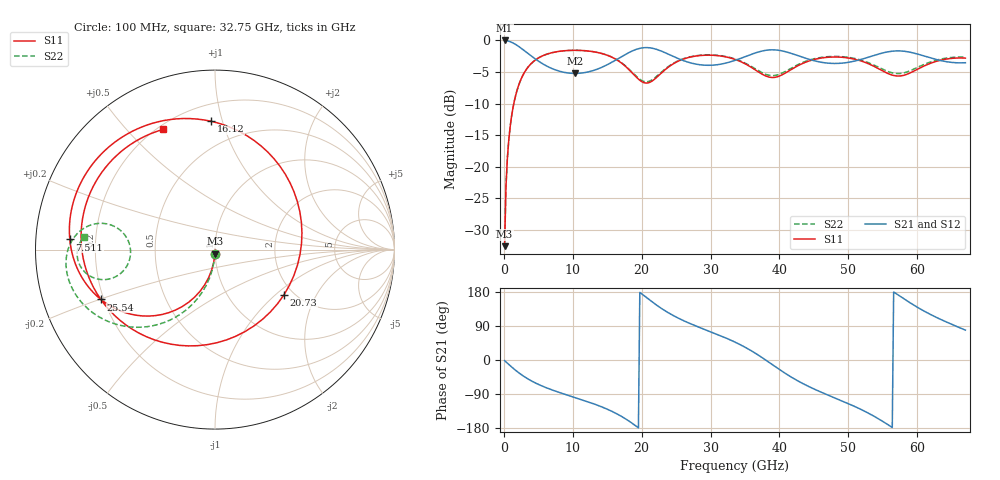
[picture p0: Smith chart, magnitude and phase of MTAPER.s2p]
! Created with skrf (http://scikit-rf.org).
# Hz S RI R 50.0
!freq ReS11 ImS11 ReS21 ImS21 ReS12 ImS12 ReS22 ImS22
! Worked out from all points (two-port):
!   335 points, 100 MHz to 67 GHz, reference 50 ohm
!   highest |S21| = 0.00 dB at 100 MHz (marker M1); lowest = -5.2 dB at 10.32 GHz (marker M2)
!   |S21| within 3 dB of the highest: 33.96 GHz to 44.33 GHz (10.37 GHz wide, 26.5 % of centre); 51.87 GHz to 62.7 GHz (10.82 GHz wide, 18.9 % of centre)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
!   lowest |S11| = -32.6 dB at 100 MHz (marker M3), VSWR 1.05, Z = 49.9 - j2.33 ohm
!   |S11| at or under -10 dB: start of sweep to 1.44 GHz
!   |S22| runs from -32.6 to -1.6 dB; largest |S21 - S12| = 4.5e-12
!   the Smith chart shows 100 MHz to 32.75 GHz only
!   S11 on the Smith chart (normalised r, x): 100 MHz: 1.00, -0.05; 7.511 GHz: 0.10, +0.03; 16.12 GHz: 0.31, +0.92; 20.73 GHz: 1.78, -1.14; 25.54 GHz: 0.19, -0.20; 32.75 GHz: 0.22, +0.64
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1e8  -0.000815 -0.0234  0.9992 -0.0294  0.9992 -0.0294  -0.000699 -0.0234
5.005988e8  -0.0187 -0.1148  0.9823 -0.1448  0.9823 -0.1448  -0.0159 -0.1152
1.702395e9  -0.1827 -0.3174  0.8257 -0.4267  0.8257 -0.4267  -0.1552 -0.3318
7.511078e9  -0.809 0.0565  0.0777 -0.5778  0.0777 -0.5778  -0.7665 -0.2647
1.031527e10  -0.7489 0.3697  -0.0861 -0.5409  -0.0861 -0.5409  -0.8272 -0.1165
1.131677e10  -0.6855 0.472  -0.1421 -0.5332  -0.1421 -0.5332  -0.8299 -0.0665
1.612395e10  -0.0222 0.7151  -0.5274 -0.4502  -0.5274 -0.4502  -0.7056 0.1317
2.073084e10  0.3836 -0.2528  -0.8447 0.2381  -0.8447 0.2381  -0.4703 -0.0153
2.253353e10  -0.042 -0.5294  -0.6417 0.5362  -0.6417 0.5362  -0.5244 -0.1315
2.553802e10  -0.6361 -0.2776  -0.2248 0.6731  -0.2248 0.6731  -0.6823 -0.1545
2.894311e10  -0.7152 0.2643  0.0882 0.6314  0.0882 0.6314  -0.7645 -0.0549
3.27488e10  -0.2884 0.6698  0.3965 0.5441  0.3965 0.5441  -0.7315 0.0675
3.355e10  -0.1435 0.6929  0.4719 0.5101  0.4719 0.5101  -0.7084 0.0864
3.835719e10  0.5119 -0.054  0.8369 -0.0647  0.8369 -0.0647  -0.5308 0.0237
4.136168e10  -0.0334 -0.5718  0.6034 -0.5264  0.6034 -0.5264  -0.5786 -0.1053
4.476677e10  -0.6473 -0.2665  0.1875 -0.6711  0.1875 -0.6711  -0.7025 -0.101
4.797156e10  -0.6914 0.2615  -0.1091 -0.6478  -0.1091 -0.6478  -0.7471 -0.0182
5.157695e10  -0.2391 0.6525  -0.4323 -0.5512  -0.4323 -0.5512  -0.7015 0.0731
5.598353e10  0.5134 0.1686  -0.8111 -0.0941  -0.8111 -0.0941  -0.5601 0.043
6.059042e10  -0.1461 -0.5945  -0.5241 0.5567  -0.5241 0.5567  -0.6228 -0.1023
6.379521e10  -0.6556 -0.2585  -0.1652 0.6653  -0.1652 0.6653  -0.7145 -0.0715
6.7e10  -0.6732 0.2674  0.1292 0.6533  0.1292 0.6533  -0.7364 0.00992
